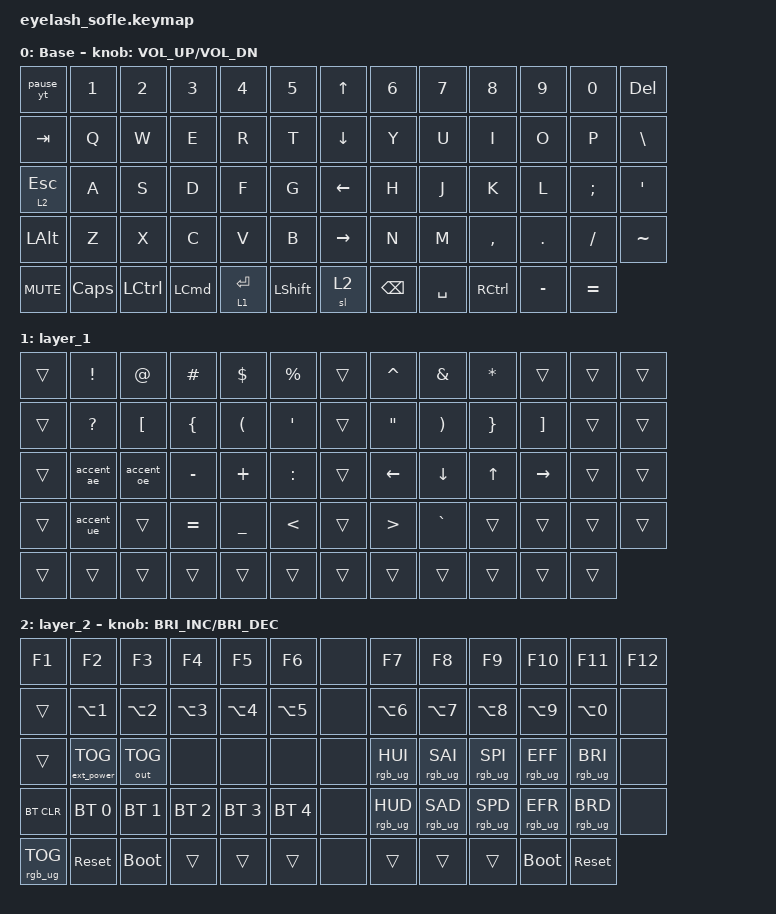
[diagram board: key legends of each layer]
#define ZMK_POINTING_DEFAULT_MOVE_VAL 1200  // 600
#define ZMK_POINTING_DEFAULT_SCRL_VAL 25   // 10

#include <input/processors.dtsi>
#include <zephyr/dt-bindings/input/input-event-codes.h>
#include <behaviors.dtsi>
#include <dt-bindings/zmk/bt.h>
#include <dt-bindings/zmk/ext_power.h>
#include <dt-bindings/zmk/keys.h>
#include <dt-bindings/zmk/outputs.h>
#include <dt-bindings/zmk/pointing.h>
#include <dt-bindings/zmk/rgb.h>

&mmv_input_listener { input-processors = <&zip_xy_scaler 2 1>; };

&msc_input_listener { input-processors = <&zip_scroll_scaler 2 1>; };

&msc {
    acceleration-exponent = <1>;      // 0
    time-to-max-speed-ms = <100>;       // 300
    delay-ms = <0>;                   // 0
};

&mmv {
    time-to-max-speed-ms = <500>;
    acceleration-exponent = <1>;
    trigger-period-ms = <16>;
};

/ {
    scroll_encoder: scroll_encoder {
        compatible = "zmk,behavior-sensor-rotate";
        #sensor-binding-cells = <0>;
        bindings = <&msc SCRL_DOWN>, <&msc SCRL_UP>;

        tap-ms = <100>;
    };

    behaviors {
    };

    macros {
        accent_ae: accent_ae {
            compatible = "zmk,behavior-macro";
            #binding-cells = <0>;
            bindings = <&kp LA(U) &kp A>;
            label = "ACCENT_AE";
        };

        pause_yt: pause_yt {
            compatible = "zmk,behavior-macro";
            #binding-cells = <0>;
            bindings = <&kp LA(NUMBER_1) &kp LA(K) &kp SPACE &kp LA(TAB)>;
            label = "PAUSE_YT";
        };

        accent_oe: accent_oe {
            compatible = "zmk,behavior-macro";
            #binding-cells = <0>;
            bindings = <&kp LA(U) &kp O>;
            label = "ACCENT_OE";
        };

        accent_ue: accent_ue {
            compatible = "zmk,behavior-macro";
            #binding-cells = <0>;
            bindings = <&kp LA(U) &kp U>;
            label = "ACCENT_UE";
        };
    };

    keymap {
        compatible = "zmk,keymap";

        layer0 {
            bindings = <
&pause_yt     &kp N1    &kp N2            &kp N3            &kp N4       &kp N5            &kp UP_ARROW     &kp N6         &kp N7     &kp N8             &kp N9     &kp N0     &kp DEL
&kp TAB       &kp Q     &kp W             &kp E             &kp R        &kp T             &kp DOWN_ARROW   &kp Y          &kp U      &kp I              &kp O      &kp P      &kp BACKSLASH
&lt 2 ESCAPE  &kp A     &kp S             &kp D             &kp F        &kp G             &kp LEFT_ARROW   &kp H          &kp J      &kp K              &kp L      &kp SEMI   &kp SINGLE_QUOTE
&kp LEFT_ALT  &kp Z     &kp X             &kp C             &kp V        &kp B             &kp RIGHT_ARROW  &kp N          &kp M      &kp COMMA          &kp DOT    &kp FSLH   &kp TILDE
&kp C_MUTE    &kp CLCK  &kp LEFT_CONTROL  &kp LEFT_COMMAND  &lt 1 ENTER  &kp LEFT_SHIFT    &sl 2            &kp BACKSPACE  &kp SPACE  &kp RIGHT_CONTROL  &kp MINUS  &kp EQUAL
            >;

            sensor-bindings = <&inc_dec_kp C_VOLUME_UP C_VOL_DN>;
            display-name = "Base";
        };

        layer_1 {
            bindings = <
&trans  &kp EXCL      &kp AT            &kp HASH        &kp DOLLAR            &kp PERCENT         &trans  &kp CARET          &kp AMPERSAND          &kp STAR         &trans             &trans  &trans
&trans  &kp QUESTION  &kp LEFT_BRACKET  &kp LEFT_BRACE  &kp LEFT_PARENTHESIS  &kp SINGLE_QUOTE    &trans  &kp DOUBLE_QUOTES  &kp RIGHT_PARENTHESIS  &kp RIGHT_BRACE  &kp RIGHT_BRACKET  &trans  &trans
&trans  &accent_ae    &accent_oe        &kp MINUS       &kp PLUS              &kp COLON           &trans  &kp LEFT_ARROW     &kp DOWN_ARROW         &kp UP_ARROW     &kp RIGHT_ARROW    &trans  &trans
&trans  &accent_ue    &trans            &kp EQUAL       &kp UNDER             &kp LESS_THAN       &trans  &kp GREATER_THAN   &kp GRAVE              &trans           &trans             &trans  &trans
&trans  &trans        &trans            &trans          &trans                &trans              &trans  &trans             &trans                 &trans           &trans             &trans
            >;
        };

        layer_2 {
            bindings = <
&kp F1           &kp F2             &kp F3            &kp F4            &kp F5            &kp F6          &none  &kp F7            &kp F8           &kp F9           &kp F10          &kp F11          &kp F12
&trans           &kp LA(NUMBER_1)   &kp LA(NUMBER_2)  &kp LA(NUMBER_3)  &kp LA(NUMBER_4)  &kp LA(N5)      &none  &kp LA(NUMBER_6)  &kp LA(N7)       &kp LA(N8)       &kp LA(N9)       &kp LA(N0)       &none
&trans           &ext_power EP_TOG  &out OUT_TOG      &none             &none             &none           &none  &rgb_ug RGB_HUI   &rgb_ug RGB_SAI  &rgb_ug RGB_SPI  &rgb_ug RGB_EFF  &rgb_ug RGB_BRI  &none
&bt BT_CLR       &bt BT_SEL 0       &bt BT_SEL 1      &bt BT_SEL 2      &bt BT_SEL 3      &bt BT_SEL 4    &none  &rgb_ug RGB_HUD   &rgb_ug RGB_SAD  &rgb_ug RGB_SPD  &rgb_ug RGB_EFR  &rgb_ug RGB_BRD  &none
&rgb_ug RGB_TOG  &sys_reset         &bootloader       &trans            &trans            &trans          &none  &trans            &trans           &trans           &bootloader      &sys_reset
            >;

            sensor-bindings = <&inc_dec_kp C_BRIGHTNESS_INC C_BRIGHTNESS_DEC>;
        };
    };

    conditional_layers { compatible = "zmk,conditional-layers"; };
};
